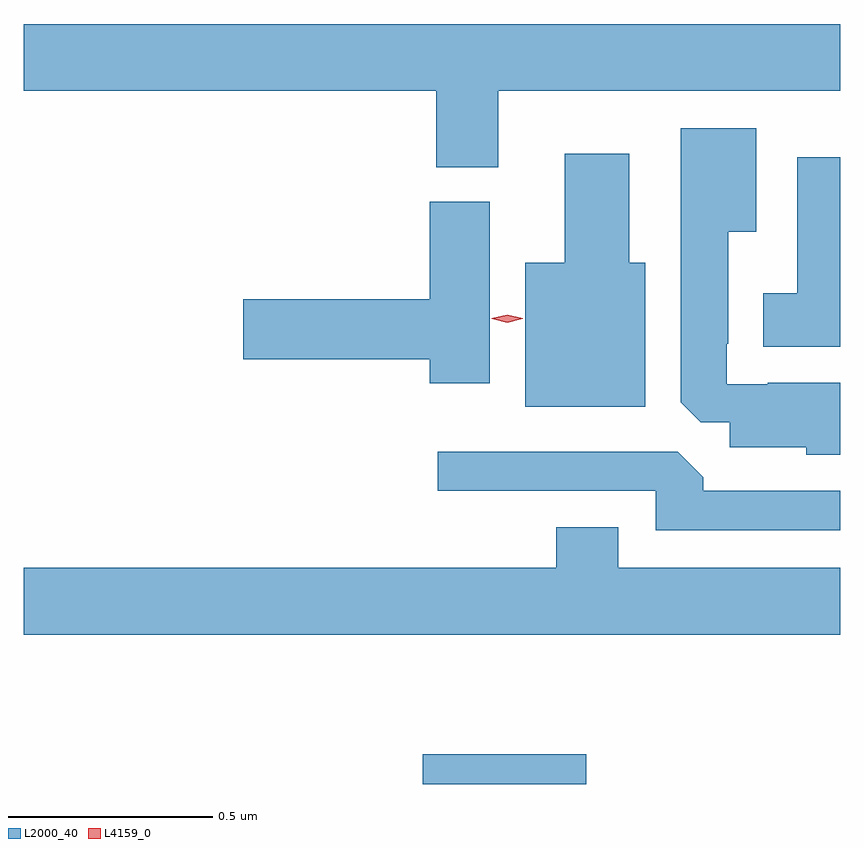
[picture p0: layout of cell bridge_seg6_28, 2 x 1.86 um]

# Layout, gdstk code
import gdstk
lib = gdstk.Library(unit=1e-6, precision=1e-09)
def R(c, l, rs):  # rectangles x0, y0, x1, y1
    for r in rs: c.add(gdstk.rectangle(r[:2], r[2:], *l))
def P(c, l, *ps):  # polygons
    for p in ps: c.add(gdstk.Polygon(p, *l))
L2000_40 = (2000, 40)
L4159_0 = (4159, 0)

bridge_seg6_28 = lib.new_cell('bridge_seg6_28')
R(bridge_seg6_28, L2000_40, [(1097.288,992.258,1097.689,992.331)])
P(bridge_seg6_28, L2000_40, [(1097.473,993.956),(1098.311,993.956),(1098.311,994.12),(1096.311,994.12),(1096.311,993.956),(1097.321,993.956),(1097.321,993.769),(1097.473,993.769)],
  [(1098.311,993.241),(1098.133,993.241),(1098.133,993.237),(1098.033,993.237),(1098.033,993.337),(1098.037,993.337),(1098.037,993.611),(1098.106,993.611),(1098.106,993.865),(1097.921,993.865),(1097.921,993.193),(1097.97,993.144),(1098.041,993.144),(1098.041,993.083),(1098.228,993.083),(1098.228,993.065),(1098.311,993.065)],
  [(1097.833,993.535),(1097.794,993.535),(1097.794,993.802),(1097.636,993.802),(1097.636,993.535),(1097.54,993.535),(1097.54,993.182),(1097.833,993.182)],
  [(1098.311,993.793),(1098.206,993.793),(1098.206,993.46),(1098.122,993.46),(1098.122,993.329),(1098.311,993.329)],
  [(1097.452,993.684),(1097.306,993.684),(1097.306,993.446),(1096.848,993.446),(1096.848,993.299),(1097.306,993.299),(1097.306,993.24),(1097.452,993.24)],
  [(1098.311,992.976),(1097.975,992.976),(1097.975,993.01),(1097.913,993.072),(1097.325,993.072),(1097.325,992.976),(1097.859,992.976),(1097.859,992.88),(1098.311,992.88)],
  [(1098.311,992.788),(1097.767,992.788),(1097.767,992.887),(1097.615,992.887),(1097.615,992.788),(1096.311,992.788),(1096.311,992.624),(1098.311,992.624)])
P(bridge_seg6_28, L4159_0, [(1097.495,993.388),(1097.457,993.398),(1097.457,993.398),(1097.457,993.399),(1097.495,993.408),(1097.533,993.399),(1097.533,993.398),(1097.533,993.398)])

lib.write_gds('bridge_seg6_28.gds')
